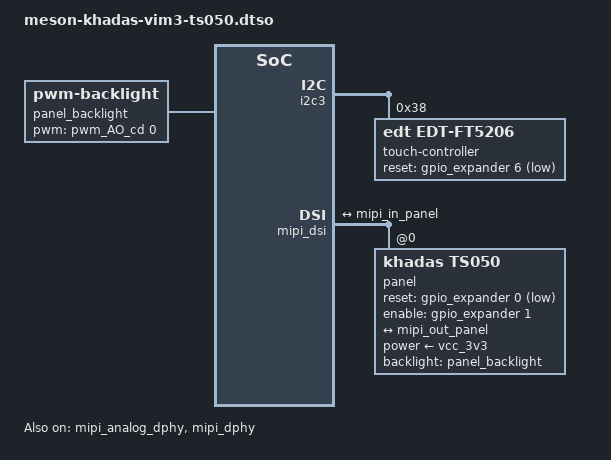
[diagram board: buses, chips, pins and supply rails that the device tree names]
// SPDX-License-Identifier: (GPL-2.0+ OR MIT)
/*
 * Copyright (c) 2019 BayLibre, SAS
 * Author: Neil Armstrong <narmstrong@baylibre.com>
 */

#include <dt-bindings/gpio/gpio.h>
#include <dt-bindings/clock/g12a-clkc.h>
#include <dt-bindings/interrupt-controller/irq.h>
#include <dt-bindings/interrupt-controller/arm-gic.h>
#include <dt-bindings/interrupt-controller/amlogic,meson-g12a-gpio-intc.h>

/dts-v1/;
/plugin/;

/*
 * Enable Khadas TS050 DSI Panel + Touch Controller
 * on Khadas VIM3 (A311D) and VIM3L (S905D3)
 */

&{/} {
	panel_backlight: backlight {
		compatible = "pwm-backlight";
		pwms = <&pwm_AO_cd 0 25000 0>;
		brightness-levels = <0 255>;
		num-interpolated-steps = <255>;
		default-brightness-level = <200>;
	};
};

&i2c3 {
	#address-cells = <1>;
	#size-cells = <0>;
	pinctrl-0 = <&i2c3_sda_a_pins>, <&i2c3_sck_a_pins>;
	pinctrl-names = "default";
	status = "okay";

	touch-controller@38 {
		compatible = "edt,edt-ft5206";
		reg = <0x38>;
		interrupt-parent = <&gpio_intc>;
		interrupts = <IRQID_GPIOA_5 IRQ_TYPE_EDGE_FALLING>;
		reset-gpios = <&gpio_expander 6 GPIO_ACTIVE_LOW>;
		touchscreen-size-x = <1080>;
		touchscreen-size-y = <1920>;
		status = "okay";
	};
};

&mipi_dsi {
	#address-cells = <1>;
	#size-cells = <0>;
	status = "okay";

	assigned-clocks = <&clkc CLKID_GP0_PLL>,
			  <&clkc CLKID_MIPI_DSI_PXCLK_SEL>,
			  <&clkc CLKID_MIPI_DSI_PXCLK>,
			  <&clkc CLKID_CTS_ENCL_SEL>,
			  <&clkc CLKID_VCLK2_SEL>;
	assigned-clock-parents = <0>,
				 <&clkc CLKID_GP0_PLL>,
				 <0>,
				 <&clkc CLKID_VCLK2_DIV1>,
				 <&clkc CLKID_GP0_PLL>;
	assigned-clock-rates = <960000000>,
			       <0>,
			       <960000000>,
			       <0>,
			       <0>;

	panel@0 {
		compatible = "khadas,ts050";
		reset-gpios = <&gpio_expander 0 GPIO_ACTIVE_LOW>;
		enable-gpios = <&gpio_expander 1 GPIO_ACTIVE_HIGH>;
		power-supply = <&vcc_3v3>;
		backlight = <&panel_backlight>;
		reg = <0>;

		port {
			mipi_in_panel: endpoint {
				remote-endpoint = <&mipi_out_panel>;
			};
		};
	};

	ports {
		#address-cells = <1>;
		#size-cells = <0>;

		port@1 {
			mipi_out_panel: endpoint {
				remote-endpoint = <&mipi_in_panel>;
			};
		};
	};
};

&mipi_analog_dphy {
	status = "okay";
};

&mipi_dphy {
	status = "okay";
};

&pwm_AO_cd {
	pinctrl-0 = <&pwm_ao_c_6_pins>, <&pwm_ao_d_e_pins>;
};
